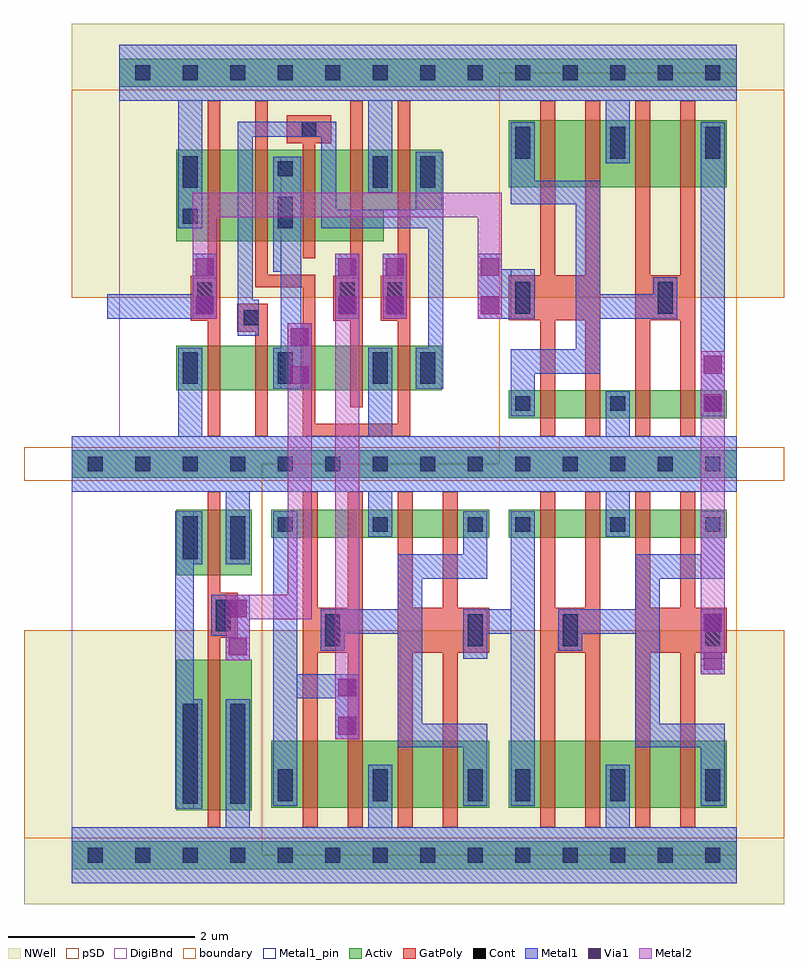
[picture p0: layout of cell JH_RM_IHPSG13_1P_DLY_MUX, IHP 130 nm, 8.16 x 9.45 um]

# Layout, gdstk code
from math import pi, radians
import gdstk
lib = gdstk.Library(unit=1e-6, precision=1e-09)
def R(c, l, rs):  # rectangles x0, y0, x1, y1
    for r in rs: c.add(gdstk.rectangle(r[:2], r[2:], *l))
def A(c, l, x, y, w, h, nx, ny, dx, dy):  # array of equal rectangles
    R(c, l, [(x+i*dx, y+j*dy, x+i*dx+w, y+j*dy+h) for i in range(nx) for j in range(ny)])
def P(c, l, *ps):  # polygons
    for p in ps: c.add(gdstk.Polygon(p, *l))
Activ = (1, 0)
GatPoly = (5, 0)
Cont = (6, 0)
Metal1 = (8, 0)
Metal1_pin = (8, 2)
Metal2 = (10, 0)
pSD = (14, 0)
DigiBnd = (16, 0)
Via1 = (19, 0)
NWell = (31, 0)
boundary = (189, 4)

jh_rsc_ihpsg13_cinvx2 = lib.new_cell('JH_RSC_IHPSG13_CINVX2')
R(jh_rsc_ihpsg13_cinvx2, Activ, [(0,-0.15,1.02,0.15), (0.105,0.49,0.915,1.195), (0.105,2.1,0.915,3.72), (0,4.05,1.02,4.35)])
P(jh_rsc_ihpsg13_cinvx2, GatPoly, [(0.445,0.3),(0.445,1.385),(0.255,1.385),(0.255,1.865),(0.445,1.865),(0.445,3.9),(0.575,3.9),(0.575,0.3)])
R(jh_rsc_ihpsg13_cinvx2, Cont, [(0.175,-0.08,0.335,0.08), (0.685,-0.08,0.845,0.08), (0.175,0.56,0.335,1.025), (0.685,0.56,0.845,1.025), (0.33,1.455,0.49,1.795), (0.175,2.575,0.335,3.65), (0.685,2.575,0.845,3.65), (0.175,4.12,0.335,4.28), (0.685,4.12,0.845,4.28)])
R(jh_rsc_ihpsg13_cinvx2, Metal1, [(0.28,1.405,0.54,1.845)])
P(jh_rsc_ihpsg13_cinvx2, Metal1, [(0,-0.3),(0,0.3),(0.125,0.3),(0.125,1.075),(0.385,1.075),(0.385,0.3),(1.02,0.3),(1.02,-0.3)],
  [(0.125,2.525),(0.125,3.9),(0,3.9),(0,4.5),(1.02,4.5),(1.02,3.9),(0.385,3.9),(0.385,2.525)],
  [(0.635,0.51),(0.635,1.075),(0.725,1.075),(0.725,2.525),(0.635,2.525),(0.635,3.7),(0.925,3.7),(0.925,0.51)])
R(jh_rsc_ihpsg13_cinvx2, Metal1_pin, [(0,-0.3,1.02,0.3), (0.725,0.51,0.925,3.7), (0.28,1.405,0.54,1.845), (0,3.9,1.02,4.5)])
R(jh_rsc_ihpsg13_cinvx2, pSD, [(-0.51,-0.18,1.53,0.18), (-0.51,1.785,1.53,4.02)])
R(jh_rsc_ihpsg13_cinvx2, DigiBnd, [(0,-0.3,1.02,4.5)])
R(jh_rsc_ihpsg13_cinvx2, NWell, [(-0.51,1.785,1.53,4.725)])
jh_rsc_ihpsg13_cinvx2.add(gdstk.Label('Z', (0.825,2.015), layer=8, texttype=2))
jh_rsc_ihpsg13_cinvx2.add(gdstk.Label('A', (0.41,1.625), layer=8, texttype=2))
jh_rsc_ihpsg13_cinvx2.add(gdstk.Label('VSS!', (0.54,-0.045), layer=8, texttype=2))
jh_rsc_ihpsg13_cinvx2.add(gdstk.Label('VDD!', (0.565,4.155), layer=8, texttype=2))

jh_rsc_ihpsg13_fill1 = lib.new_cell('JH_RSC_IHPSG13_FILL1')
R(jh_rsc_ihpsg13_fill1, Activ, [(0,-0.15,0.51,0.15), (0,4.05,0.51,4.35)])
R(jh_rsc_ihpsg13_fill1, Cont, [(0.175,-0.08,0.335,0.08), (0.175,4.12,0.335,4.28)])
R(jh_rsc_ihpsg13_fill1, Metal1, [(0,-0.3,0.51,0.3), (0,3.9,0.51,4.5)])
R(jh_rsc_ihpsg13_fill1, Metal1_pin, [(0,-0.3,0.51,0.3), (0,3.9,0.51,4.5)])
R(jh_rsc_ihpsg13_fill1, pSD, [(-0.51,-0.18,1.02,0.18), (-0.51,1.785,1.02,4.02)])
R(jh_rsc_ihpsg13_fill1, DigiBnd, [(0,-0.3,0.51,4.5)])
R(jh_rsc_ihpsg13_fill1, NWell, [(-0.51,1.785,1.02,4.725)])
jh_rsc_ihpsg13_fill1.add(gdstk.Label('VSS!', (0.26,0.01), layer=8, texttype=2))
jh_rsc_ihpsg13_fill1.add(gdstk.Label('VDD!', (0.255,4.2), layer=8, texttype=2))

jh_rsc_ihpsg13_fill2 = lib.new_cell('JH_RSC_IHPSG13_FILL2')
R(jh_rsc_ihpsg13_fill2, Activ, [(0,-0.15,1.02,0.15), (0,4.05,1.02,4.35)])
R(jh_rsc_ihpsg13_fill2, Cont, [(0.175,-0.08,0.335,0.08), (0.685,-0.08,0.845,0.08), (0.175,4.12,0.335,4.28), (0.685,4.12,0.845,4.28)])
R(jh_rsc_ihpsg13_fill2, Metal1, [(0,-0.3,1.02,0.3), (0,3.9,1.02,4.5)])
R(jh_rsc_ihpsg13_fill2, Metal1_pin, [(0,-0.3,1.02,0.3), (0,3.9,1.02,4.5)])
R(jh_rsc_ihpsg13_fill2, pSD, [(-0.51,-0.18,1.53,0.18), (-0.51,1.785,1.53,4.02)])
R(jh_rsc_ihpsg13_fill2, DigiBnd, [(0,-0.3,1.02,4.5)])
R(jh_rsc_ihpsg13_fill2, NWell, [(-0.51,1.785,1.53,4.725)])
jh_rsc_ihpsg13_fill2.add(gdstk.Label('VSS!', (0.635,-0.005), layer=8, texttype=2))
jh_rsc_ihpsg13_fill2.add(gdstk.Label('VDD!', (0.515,4.215), layer=8, texttype=2))

jh_rsc_ihpsg13_mx2ix1 = lib.new_cell('JH_RSC_IHPSG13_MX2IX1')
R(jh_rsc_ihpsg13_mx2ix1, Activ, [(0,-0.15,3.06,0.15), (0.105,0.79,2.955,1.27), (0,4.05,3.06,4.35)])
P(jh_rsc_ihpsg13_mx2ix1, Activ, [(0.105,2.39),(0.105,3.375),(2.955,3.375),(2.955,2.73),(2.335,2.73),(2.335,2.39)])
P(jh_rsc_ihpsg13_mx2ix1, GatPoly, [(0.445,0.3),(0.445,1.54),(0.26,1.54),(0.26,2.02),(0.445,2.02),(0.445,3.9),(0.575,3.9),(0.575,0.3)],
  [(0.955,0.3),(0.955,1.42),(0.76,1.42),(0.76,1.72),(1.085,1.72),(1.085,0.3)],
  [(1.465,2.21),(1.465,3.445),(1.29,3.445),(1.29,3.745),(1.77,3.745),(1.77,3.445),(1.595,3.445),(1.595,2.21)],
  [(1.465,0.3),(1.465,1.9),(0.955,1.9),(0.955,3.9),(1.085,3.9),(1.085,2.03),(1.595,2.03),(1.595,0.43),(2.485,0.43),(2.485,1.54),(2.3,1.54),(2.3,2.02),(2.485,2.02),(2.485,3.9),(2.615,3.9),(2.615,0.3)],
  [(1.975,0.61),(1.975,1.54),(1.79,1.54),(1.79,2.02),(1.975,2.02),(1.975,3.9),(2.105,3.9),(2.105,0.61)])
A(jh_rsc_ihpsg13_mx2ix1, Cont, 0.175, -0.08, 0.16, 0.16, 6, 2, 0.51, 4.2)
A(jh_rsc_ihpsg13_mx2ix1, Cont, 0.175, 0.86, 0.16, 0.34, 3, 1, 1.02, 0)
R(jh_rsc_ihpsg13_mx2ix1, Cont, [(2.725,0.86,2.885,1.2), (0.83,1.49,0.99,1.65), (0.33,1.61,0.49,1.95), (1.86,1.61,2.02,1.95), (2.37,1.61,2.53,1.95), (1.195,2.53,1.355,2.87), (0.175,2.58,0.335,2.74), (0.175,2.965,0.335,3.305), (2.215,2.965,2.375,3.305), (2.725,2.965,2.885,3.305), (1.195,3.09,1.355,3.25), (1.45,3.515,1.61,3.675)])
R(jh_rsc_ihpsg13_mx2ix1, Metal1, [(0.28,1.56,0.54,2), (1.81,1.56,2.07,2), (2.32,1.56,2.58,2)])
P(jh_rsc_ihpsg13_mx2ix1, Metal1, [(1.145,0.81),(1.145,1.25),(1.225,1.25),(1.225,2.065),(1.145,2.065),(1.145,3.3),(1.445,3.3),(1.445,0.81)],
  [(2.675,0.81),(2.675,1.25),(2.81,1.25),(2.81,2.53),(1.66,2.53),(1.66,3.515),(0.925,3.515),(0.925,1.765),(0.99,1.765),(0.99,1.375),(0.765,1.375),(0.765,3.675),(1.82,3.675),(1.82,2.73),(2.675,2.73),(2.675,3.355),(2.97,3.355),(2.97,0.81)],
  [(0.125,2.53),(0.125,3.9),(0,3.9),(0,4.5),(3.06,4.5),(3.06,3.9),(2.425,3.9),(2.425,2.915),(2.165,2.915),(2.165,3.9),(0.385,3.9),(0.385,2.53)],
  [(0,-0.3),(0,0.3),(0.125,0.3),(0.125,1.25),(0.385,1.25),(0.385,0.3),(2.165,0.3),(2.165,1.25),(2.425,1.25),(2.425,0.3),(3.06,0.3),(3.06,-0.3)])
R(jh_rsc_ihpsg13_mx2ix1, Metal1_pin, [(0,-0.3,3.06,0.3), (1.225,0.81,1.445,3.3), (0.28,1.56,0.54,2), (1.81,1.56,2.07,2), (2.32,1.56,2.58,2), (0,3.9,3.06,4.5)])
R(jh_rsc_ihpsg13_mx2ix1, pSD, [(-0.51,-0.18,3.57,0.18), (-0.51,1.785,3.57,4.02)])
R(jh_rsc_ihpsg13_mx2ix1, DigiBnd, [(0,-0.3,3.06,4.5)])
R(jh_rsc_ihpsg13_mx2ix1, NWell, [(-0.51,1.785,3.57,4.725)])
jh_rsc_ihpsg13_mx2ix1.add(gdstk.Label('A1', (1.97,1.725), layer=8, texttype=2))
jh_rsc_ihpsg13_mx2ix1.add(gdstk.Label('S', (2.415,1.815), layer=8, texttype=2))
jh_rsc_ihpsg13_mx2ix1.add(gdstk.Label('VSS!', (1.155,0.005), layer=8, texttype=2))
jh_rsc_ihpsg13_mx2ix1.add(gdstk.Label('VDD!', (0.84,4.2), layer=8, texttype=2))
jh_rsc_ihpsg13_mx2ix1.add(gdstk.Label('A0', (0.415,1.755), layer=8, texttype=2))
jh_rsc_ihpsg13_mx2ix1.add(gdstk.Label('ZN', (1.28,2.425), layer=8, texttype=2))

jh_rsc_ihpsg13_cdlyx1 = lib.new_cell('JH_RSC_IHPSG13_CDLYX1')
R(jh_rsc_ihpsg13_cdlyx1, Activ, [(0,-0.15,2.55,0.15), (0.105,0.49,2.445,0.79), (0.105,2.97,2.445,3.69), (0,4.05,2.55,4.35)])
P(jh_rsc_ihpsg13_cdlyx1, GatPoly, [(1.465,0.3),(1.465,3.9),(1.625,3.9),(1.625,2.025),(1.945,2.025),(1.945,3.9),(2.105,3.9),(2.105,0.3),(1.945,0.3),(1.945,1.545),(1.625,1.545),(1.625,0.3)],
  [(0.445,0.3),(0.445,1.545),(0.105,1.545),(0.105,2.025),(0.445,2.025),(0.445,3.9),(0.605,3.9),(0.605,2.025),(0.925,2.025),(0.925,3.9),(1.085,3.9),(1.085,0.3),(0.925,0.3),(0.925,1.545),(0.605,1.545),(0.605,0.3)])
A(jh_rsc_ihpsg13_cdlyx1, Cont, 0.175, -0.08, 0.16, 0.16, 5, 2, 0.51, 4.2)
A(jh_rsc_ihpsg13_cdlyx1, Cont, 0.175, 0.57, 0.16, 0.16, 3, 1, 1.02, 0)
A(jh_rsc_ihpsg13_cdlyx1, Cont, 0.175, 3.28, 0.16, 0.34, 3, 1, 1.02, 0)
R(jh_rsc_ihpsg13_cdlyx1, Cont, [(0.175,1.615,0.335,1.955), (1.705,1.615,1.865,1.955)])
R(jh_rsc_ihpsg13_cdlyx1, Metal1, [(0,-0.3,2.55,0.3), (1.145,0.3,1.405,0.78), (2.165,0.51,2.425,3.67), (0.125,1.56,0.385,2.09)])
P(jh_rsc_ihpsg13_cdlyx1, Metal1, [(0.125,0.51),(0.125,1.23),(0.825,1.23),(0.825,2.79),(0.125,2.79),(0.125,3.67),(0.385,3.67),(0.385,3.04),(1.085,3.04),(1.085,1.82),(1.655,1.82),(1.655,2.005),(1.915,2.005),(1.915,1.56),(1.085,1.56),(1.085,0.97),(0.385,0.97),(0.385,0.51)],
  [(1.145,3.23),(1.145,3.9),(0,3.9),(0,4.5),(2.55,4.5),(2.55,3.9),(1.405,3.9),(1.405,3.23)])
R(jh_rsc_ihpsg13_cdlyx1, Metal1_pin, [(0,-0.3,2.55,0.3), (2.165,0.51,2.425,3.67), (0.125,1.56,0.385,2.09), (0,3.9,2.55,4.5)])
R(jh_rsc_ihpsg13_cdlyx1, pSD, [(-0.51,-0.18,3.06,0.18), (-0.51,1.785,3.06,4.02)])
R(jh_rsc_ihpsg13_cdlyx1, DigiBnd, [(0,-0.3,2.55,4.5)])
R(jh_rsc_ihpsg13_cdlyx1, NWell, [(-0.51,1.785,3.06,4.725)])
R(jh_rsc_ihpsg13_cdlyx1, boundary, [(0,0,2.55,4.2)])
jh_rsc_ihpsg13_cdlyx1.add(gdstk.Label('VDD!', (0.51,4.2), layer=8, texttype=25))
jh_rsc_ihpsg13_cdlyx1.add(gdstk.Label('A', (0.265,1.785), layer=8, texttype=25))
jh_rsc_ihpsg13_cdlyx1.add(gdstk.Label('VSS!', (0.465,0), layer=8, texttype=25))
jh_rsc_ihpsg13_cdlyx1.add(gdstk.Label('Z', (2.3,1.755), layer=8, texttype=25))

jh_m2_m1_cdns_7564811692 = lib.new_cell('JH_M2_M1_CDNS_756481169253')
R(jh_m2_m1_cdns_7564811692, Metal1, [(-0.35,-0.13,0.35,0.13)])
R(jh_m2_m1_cdns_7564811692, Metal2, [(-0.35,-0.13,0.35,0.13)])
R(jh_m2_m1_cdns_7564811692, Via1, [(-0.3,-0.095,-0.11,0.095), (0.11,-0.095,0.3,0.095)])

jh_viagen12_cdns_7564811 = lib.new_cell('JH_viagen12_CDNS_7564811692510')
R(jh_viagen12_cdns_7564811, Metal1, [(-0.13,-0.35,0.13,0.35)])
R(jh_viagen12_cdns_7564811, Metal2, [(-0.13,-0.35,0.13,0.35)])
R(jh_viagen12_cdns_7564811, Via1, [(-0.095,-0.3,0.095,-0.11), (-0.095,0.11,0.095,0.3)])

jh_rm_ihpsg13_1p_dly_mux = lib.new_cell('JH_RM_IHPSG13_1P_DLY_MUX')
R(jh_rm_ihpsg13_1p_dly_mux, Metal1, [(0.895,1.685,1.3,1.945), (2.935,2.38,3.185,2.64), (-1.145,5.76,-0.23,6.02), (3.09,5.76,3.185,6.29)])
R(jh_rm_ihpsg13_1p_dly_mux, Metal2, [(1.3,1.245,1.56,6.46), (5.225,2.11,5.485,5.41), (0.125,2.535,1.05,2.795), (0.79,2.535,1.05,5.71), (-0.23,5.76,0.03,7.11), (2.83,5.76,3.09,7.11), (-0.23,6.85,3.09,7.11)])
jh_rm_ihpsg13_1p_dly_mux.add(gdstk.Reference(jh_rsc_ihpsg13_cinvx2, (0.51,4.2), rotation=pi))
jh_rm_ihpsg13_1p_dly_mux.add(gdstk.Reference(jh_rsc_ihpsg13_fill1, (2.55,4.2)))
jh_rm_ihpsg13_1p_dly_mux.add(gdstk.Reference(jh_rsc_ihpsg13_fill1, (-1.02,4.2)))
jh_rm_ihpsg13_1p_dly_mux.add(gdstk.Reference(jh_rsc_ihpsg13_fill2, (-0.51,4.2), rotation=pi))
jh_rm_ihpsg13_1p_dly_mux.add(gdstk.Reference(jh_rsc_ihpsg13_mx2ix1, (-0.51,4.2)))
jh_rm_ihpsg13_1p_dly_mux.add(gdstk.Reference(jh_rsc_ihpsg13_cdlyx1, (3.06,4.2), rotation=pi))
jh_rm_ihpsg13_1p_dly_mux.add(gdstk.Reference(jh_rsc_ihpsg13_cdlyx1, (5.61,4.2), rotation=pi))
jh_rm_ihpsg13_1p_dly_mux.add(gdstk.Reference(jh_rsc_ihpsg13_cdlyx1, (3.06,4.2)))
jh_rm_ihpsg13_1p_dly_mux.add(gdstk.Reference(jh_m2_m1_cdns_7564811692, (5.355,2.29), rotation=pi/2))
jh_rm_ihpsg13_1p_dly_mux.add(gdstk.Reference(jh_m2_m1_cdns_7564811692, (5.355,5.06), rotation=pi/2))
jh_rm_ihpsg13_1p_dly_mux.add(gdstk.Reference(jh_viagen12_cdns_7564811, (-0.1,6.11)))
jh_rm_ihpsg13_1p_dly_mux.add(gdstk.Reference(jh_viagen12_cdns_7564811, (2.96,6.11)))
jh_rm_ihpsg13_1p_dly_mux.add(gdstk.Reference(jh_viagen12_cdns_7564811, (1.43,6.11)))
jh_rm_ihpsg13_1p_dly_mux.add(gdstk.Reference(jh_viagen12_cdns_7564811, (1.94,6.11)))
jh_rm_ihpsg13_1p_dly_mux.add(gdstk.Reference(jh_viagen12_cdns_7564811, (0.92,5.36)))
jh_rm_ihpsg13_1p_dly_mux.add(gdstk.Reference(jh_viagen12_cdns_7564811, (1.43,1.595)))
jh_rm_ihpsg13_1p_dly_mux.add(gdstk.Reference(jh_viagen12_cdns_7564811, (0.255,2.445)))

lib.write_gds('JH_RM_IHPSG13_1P_DLY_MUX.gds')
